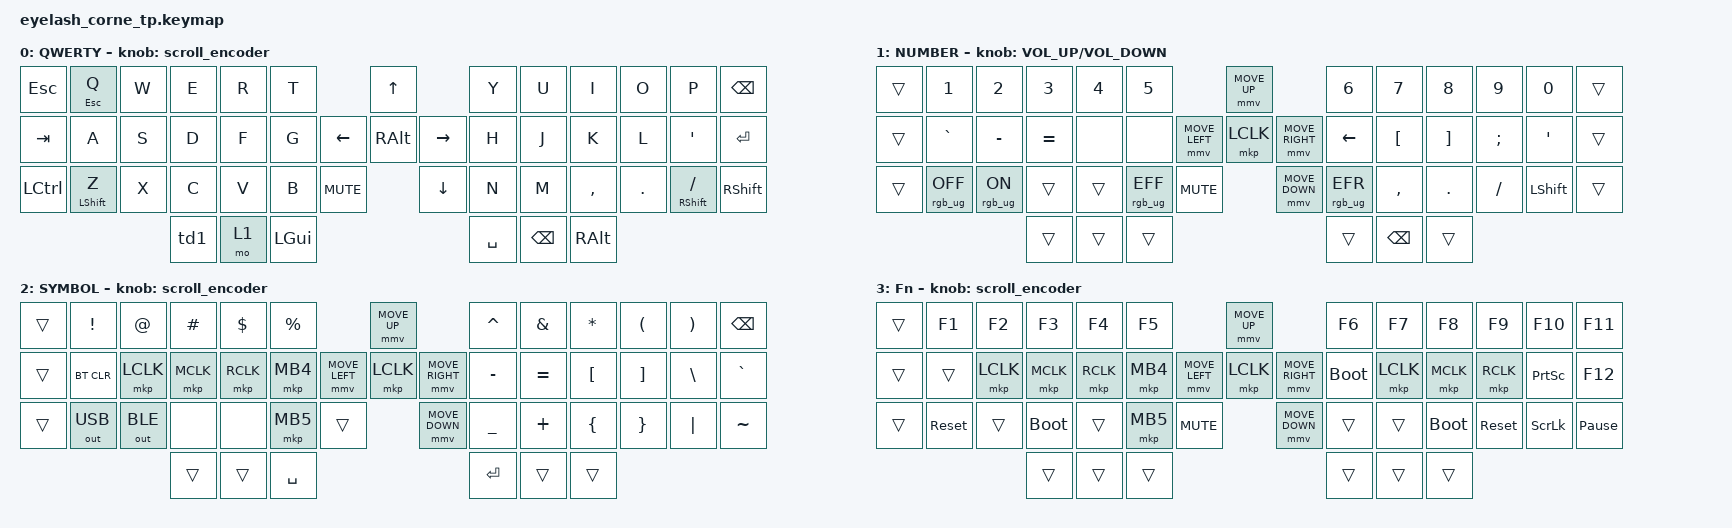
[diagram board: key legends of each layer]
#define ZMK_POINTING_DEFAULT_MOVE_VAL 1200  // 600
#define ZMK_POINTING_DEFAULT_SCRL_VAL 25   // 10

#include <input/processors.dtsi>
#include <zephyr/dt-bindings/input/input-event-codes.h>
#include <behaviors.dtsi>
#include <dt-bindings/zmk/bt.h>
#include <dt-bindings/zmk/keys.h>
#include <dt-bindings/zmk/outputs.h>
#include <dt-bindings/zmk/pointing.h>
#include <dt-bindings/zmk/rgb.h>

&mmv_input_listener { input-processors = <&zip_xy_scaler 2 1>; };

// &msc_input_listener { input-processors = <&zip_scroll_scaler 2 1>; };

&mouse_ps2_input_listener { input-processors = <&zip_xy_transform (INPUT_TRANSFORM_X_INVERT)>}

&msc {
    time-to-max-speed-ms = <50>;       // 300
    acceleration-exponent = <1>;
};

&mmv {
    time-to-max-speed-ms = <500>;
    acceleration-exponent = <1>;
    trigger-period-ms = <16>;
};

/ {
    behaviors {
        td0: td0 {
            compatible = "zmk,behavior-tap-dance";
            #binding-cells = <0>;
            bindings = <&kp LEFT_SHIFT>, <&kp CAPS>;
        };

        td1: td1 {
            compatible = "zmk,behavior-tap-dance";
            label = "DOUBLE_TAP";
            #binding-cells = <0>;
            bindings = <&kp LCTRL>, <&kp LEFT_ALT>;
        };

        hm: homerow_mods {
            compatible = "zmk,behavior-hold-tap";
            label = "HOMEROW_MODS";
            #binding-cells = <2>;
            tapping-term-ms = <200>;
            quick-tap-ms = <0>;
            flavor = "tap-preferred";
            bindings = <&kp>, <&kp>;
        };
    };

    combos {
        compatible = "zmk,combos";

        combo_tilde {
            bindings = <&kp GRAVE>;
            key-positions = <1 2>;
        };

        combo_tab {
            bindings = <&kp TAB>;
            key-positions = <16 15>;
        };

        combo_enter {
            bindings = <&kp ENTER>;
            key-positions = <24 25>;
        };

        settings_layer {
            bindings = <&mo 3>;
            key-positions = <13 14 15 16 17>;
        };
    };

    rgb_encoder: rgb_encoder {
        compatible = "zmk,behavior-sensor-rotate";
        #sensor-binding-cells = <0>;
        bindings = <&rgb_ug RGB_BRI>, <&rgb_ug RGB_BRD>;
    };

    scroll_encoder: scroll_encoder {
        compatible = "zmk,behavior-sensor-rotate";
        #sensor-binding-cells = <0>;
        bindings = <&msc SCRL_DOWN>, <&msc SCRL_UP>;

        tap-ms = <50>;
    };

    keymap {
        compatible = "zmk,keymap";

        default_layer {
            display-name = "QWERTY";
            bindings = <
&kp ESC    &hm ESC Q         &kp W  &kp E  &kp R  &kp T                             &kp UP                    &kp Y      &kp U          &kp I          &kp O    &kp P                  &kp BSPC
&kp TAB    &kp A             &kp S  &kp D  &kp F  &kp G                   &kp LEFT  &kp RIGHT_ALT  &kp RIGHT  &kp H      &kp J          &kp K          &kp L    &kp SQT                &kp ENTER
&kp LCTRL  &hm LEFT_SHIFT Z  &kp X  &kp C  &kp V  &kp B     &kp C_MUTE              &kp DOWN                  &kp N      &kp M          &kp COMMA      &kp DOT  &mt RIGHT_SHIFT SLASH  &kp RIGHT_SHIFT
                                    &td1   &mo 1  &kp LGUI                                                    &kp SPACE  &kp BACKSPACE  &kp RIGHT_ALT
            >;

            sensor-bindings = <&scroll_encoder>;
        };

        lower_layer {
            display-name = "NUMBER";
            bindings = <
&trans  &kp N1           &kp N2          &kp N3     &kp N4  &kp N5                                         &mmv MOVE_UP                     &kp N6           &kp N7            &kp N8             &kp N9     &kp N0          &trans
&trans  &kp GRAVE        &kp MINUS       &kp EQUAL  &none   &none                          &mmv MOVE_LEFT  &mkp LCLK       &mmv MOVE_RIGHT  &kp LEFT         &kp LEFT_BRACKET  &kp RIGHT_BRACKET  &kp SEMI   &kp SQT         &trans
&trans  &rgb_ug RGB_OFF  &rgb_ug RGB_ON  &trans     &trans  &rgb_ug RGB_EFF  &kp C_MUTE                    &mmv MOVE_DOWN                   &rgb_ug RGB_EFR  &kp COMMA         &kp PERIOD         &kp SLASH  &kp LEFT_SHIFT  &trans
                                         &trans     &trans  &trans                                                                          &trans           &kp BACKSPACE     &trans
            >;

            sensor-bindings = <&inc_dec_kp C_VOLUME_UP C_VOLUME_DOWN>;
        };

        raise_layer {
            display-name = "SYMBOL";
            bindings = <
&trans  &kp EXCL      &kp AT        &kp HASH   &kp DLLR   &kp PRCNT                            &mmv MOVE_UP                     &kp CARET  &kp AMPS   &kp ASTRK  &kp LPAR  &kp RPAR  &kp BSPC
&trans  &bt BT_CLR    &mkp LCLK     &mkp MCLK  &mkp RCLK  &mkp MB4             &mmv MOVE_LEFT  &mkp LCLK       &mmv MOVE_RIGHT  &kp MINUS  &kp EQUAL  &kp LBKT   &kp RBKT  &kp BSLH  &kp GRAVE
&trans  &out OUT_USB  &out OUT_BLE  &none      &none      &mkp MB5   &trans                    &mmv MOVE_DOWN                   &kp UNDER  &kp PLUS   &kp LBRC   &kp RBRC  &kp PIPE  &kp TILDE
                                    &trans     &trans     &kp SPACE                                                             &kp RET    &trans     &trans
            >;

            sensor-bindings = <&scroll_encoder>;
        };

        layer_3 {
            display-name = "Fn";
            bindings = <
&trans  &kp F1      &kp F2     &kp F3       &kp F4     &kp F5                                  &mmv MOVE_UP                     &kp F6       &kp F7     &kp F8       &kp F9      &kp F10          &kp F11
&trans          &trans      &mkp LCLK  &mkp MCLK    &mkp RCLK  &mkp MB4                &mmv MOVE_LEFT  &mkp LCLK       &mmv MOVE_RIGHT  &bootloader  &mkp LCLK  &mkp MCLK    &mkp RCLK   &kp PRINTSCREEN  &kp F12
&trans          &sys_reset  &trans     &bootloader  &trans     &mkp MB5  &kp C_MUTE                    &mmv MOVE_DOWN                   &trans       &trans     &bootloader  &sys_reset  &kp SCROLLLOCK   &kp PAUSE_BREAK
                                       &trans       &trans     &trans                                                                   &trans       &trans     &trans
            >;

            sensor-bindings = <&scroll_encoder>;
        };
    };
};
